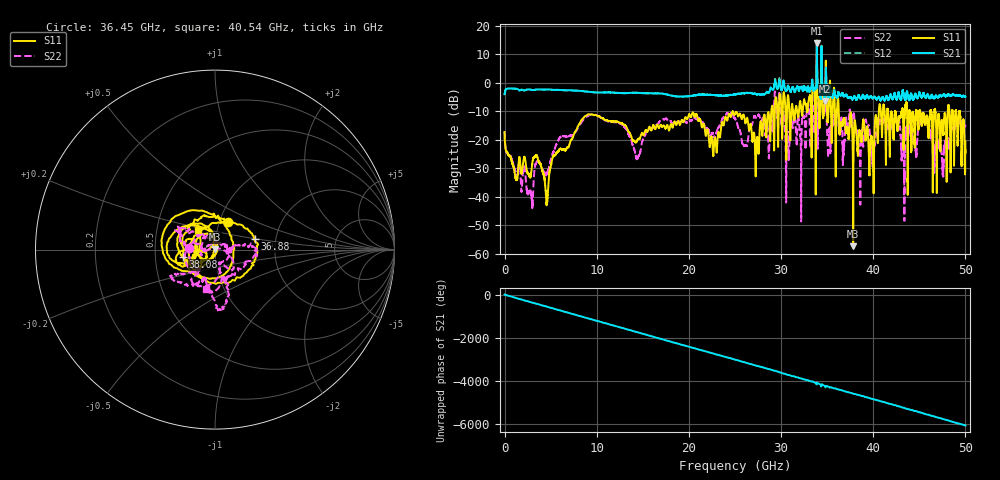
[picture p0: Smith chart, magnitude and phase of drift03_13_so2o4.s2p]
!Created with skrf (http://scikit-rf.org).
# Hz S RI R 50.0
!freq ReS11 ImS11 ReS21 ImS21 ReS12 ImS12 ReS22 ImS22
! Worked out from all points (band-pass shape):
!   10001 points, 300 kHz to 50 GHz, reference 50 ohm
!   highest |S21| = 13.90 dB at 33.88 GHz (marker M1); lowest = -6.4 dB at 34.79 GHz (marker M2)
!   |S21| within 3 dB of the highest: 33.86969 GHz to 33.88942 GHz (19.73 MHz wide, 0.0582 % of centre); 34.37678 GHz to 34.39083 GHz (14.05 MHz wide, 0.0409 % of centre)
!   lowest |S11| = -57.4 dB at 37.83 GHz (marker M3), VSWR 1.00, Z = 49.9 + j0.123 ohm
!   |S11| at or under -10 dB: start of sweep to 28.94 GHz; 36.26 GHz to 40.61 GHz (4.346 GHz wide, 11.3 % of centre); 46.74 GHz to 48.09 GHz (1.345 GHz wide, 2.84 % of centre) (the widest 3 of 63)
!   |S22| runs from -48.7 to 10.4 dB; largest |S21 - S12| = 0.79
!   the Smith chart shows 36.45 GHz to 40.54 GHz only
!   S11 on the Smith chart (normalised r, x): 36.45 GHz: 1.09, +0.35; 36.88 GHz: 1.55, +0.19; 38.08 GHz: 0.69, -0.06; 40.54 GHz: 0.81, +0.18
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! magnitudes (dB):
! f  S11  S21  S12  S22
! 300 kHz  -17.3  -4.0  -4.0  -17.1
! 2.85 GHz  -32.3  -2.4  -2.4  -38.1
! 4.585 GHz  -42.1  -2.4  -2.3  -31.9
! 8.335 GHz  -13.1  -2.8  -2.8  -13.9
! 14.43 GHz  -20.0  -3.5  -3.5  -26.5
! 16.67 GHz  -15.5  -3.7  -3.7  -14.3
! 22.82 GHz  -19.4  -4.3  -4.3  -19.1
! 25 GHz  -11.0  -4.0  -4.0  -12.6
! 27.39 GHz  -19.4  -4.1  -4.1  -12.3
! 29.6 GHz  -10.4  -2.0  -2.1  -11.8
! 30.7 GHz  -5.8  -1.5  -1.6  -17.4
! 33.34 GHz  -13.4  -0.5  -0.6  -7.3
! 33.88 GHz  14.9  13.9  13.6  10.4
! 34.79 GHz  -3.1  -6.4  -5.1  -8.7
! 36.45 GHz  -15.3  -4.4  -4.3  -16.8
! 36.88 GHz  -12.9  -4.6  -4.6  -20.9
! 37.83 GHz  -57.4  -5.6  -5.6  -11.5
! 38.08 GHz  -14.7  -5.5  -5.4  -17.0
! 40.54 GHz  -16.9  -5.1  -5.1  -12.9
! 41.67 GHz  -12.4  -6.0  -6.0  -15.2
! 47.58 GHz  -17.5  -4.3  -4.3  -28.9
! 50 GHz  -20.6  -4.9  -4.9  -15.2
